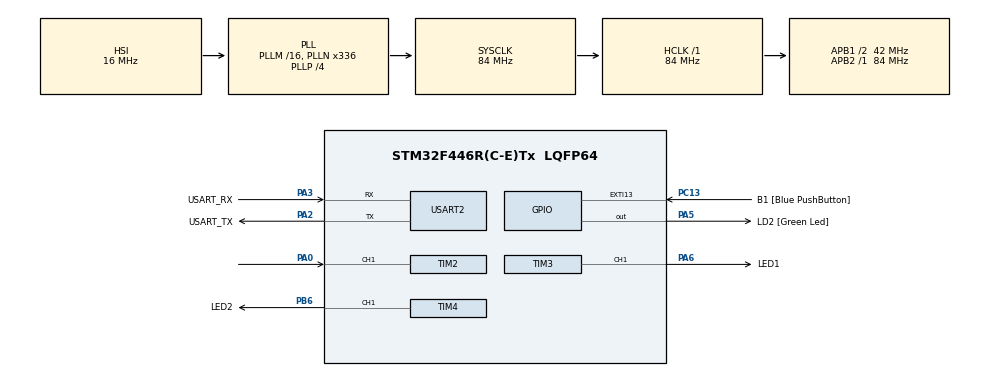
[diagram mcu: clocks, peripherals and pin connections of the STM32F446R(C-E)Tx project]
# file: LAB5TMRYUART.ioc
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Mcu.Family=STM32F4
Mcu.Name=STM32F446R(C-E)Tx
Mcu.Package=LQFP64
NVIC.PriorityGroup=NVIC_PRIORITYGROUP_0
NVIC.TIM2_IRQn=true\:0\:0\:false\:false\:true\:true\:true\:true
PA0-WKUP.Signal=S_TIM2_CH1_ETR
PA13.GPIO_Label=TMS
PA13.Signal=SYS_JTMS-SWDIO
PA14.GPIO_Label=TCK
PA14.Signal=SYS_JTCK-SWCLK
PA2.GPIO_Label=USART_TX
PA2.Mode=Asynchronous
PA2.Signal=USART2_TX
PA3.GPIO_Label=USART_RX
PA3.Mode=Asynchronous
PA3.Signal=USART2_RX
PA5.GPIO_Label=LD2 [Green Led]
PA5.Signal=GPIO_Output
PA6.GPIO_Label=LED1
PA6.Signal=S_TIM3_CH1
PB3.GPIO_Label=SWO
PB3.Signal=SYS_JTDO-SWO
PB6.GPIO_Label=LED2
PB6.Signal=S_TIM4_CH1
PC13.GPIO_Label=B1 [Blue PushButton]
PC13.GPIO_ModeDefaultEXTI=GPIO_MODE_IT_FALLING
PC13.Signal=GPXTI13
PC14-OSC32_IN.Signal=RCC_OSC32_IN
PC15-OSC32_OUT.Signal=RCC_OSC32_OUT
PH0-OSC_IN.Signal=RCC_OSC_IN
PH1-OSC_OUT.Signal=RCC_OSC_OUT
ProjectManager.HeapSize=0x200
ProjectManager.StackSize=0x400
ProjectManager.TargetToolchain=STM32CubeIDE
RCC.AHBFreq_Value=84000000
RCC.APB1CLKDivider=RCC_HCLK_DIV2
RCC.APB1Freq_Value=42000000
RCC.APB1TimFreq_Value=84000000
RCC.APB2Freq_Value=84000000
RCC.APB2TimFreq_Value=84000000
RCC.CortexFreq_Value=84000000
RCC.FLatency-AdvancedSettings=FLASH_LATENCY_2
RCC.HCLKFreq_Value=84000000
RCC.HSE_VALUE=8000000
RCC.HSI_VALUE=16000000
RCC.LSE_VALUE=32768
RCC.PLLN=336
RCC.PLLP=RCC_PLLP_DIV4
RCC.SYSCLKFreq_VALUE=84000000
RCC.SYSCLKSource=RCC_SYSCLKSOURCE_PLLCLK
RCC.USBFreq_Value=168000000
RCC.VCOOutputFreq_Value=336000000
SH.S_TIM2_CH1_ETR.0=TIM2_CH1,Input_Capture1_from_TI1
SH.S_TIM3_CH1.0=TIM3_CH1,PWM Generation1 CH1
SH.S_TIM4_CH1.0=TIM4_CH1,PWM Generation1 CH1
TIM2.Channel-Input_Capture1_from_TI1=TIM_CHANNEL_1
TIM2.Period=65535
TIM2.Prescaler=84
TIM3.Channel-PWM\ Generation1\ CH1=TIM_CHANNEL_1
TIM3.Period=5000
TIM3.Prescaler=8400
TIM3.Pulse-PWM\ Generation1\ CH1=2500
TIM4.Channel-PWM\ Generation1\ CH1=TIM_CHANNEL_1
TIM4.Period=20000
TIM4.Prescaler=8400
TIM4.Pulse-PWM\ Generation1\ CH1=10000
USART2.VirtualMode=VM_ASYNC
VP_TIM2_VS_ClockSourceINT.Mode=Internal
VP_TIM3_VS_ClockSourceINT.Mode=Internal
VP_TIM4_VS_ClockSourceINT.Mode=Internal
board=NUCLEO-F446RE

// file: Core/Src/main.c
/* USER CODE BEGIN Header */
/**
  ******************************************************************************
  * @file           : main.c
  * @brief          : Main program body
  ******************************************************************************
  * @attention
  *
  * Copyright (c) 2026 STMicroelectronics.
  * All rights reserved.
  *
  * This software is licensed under terms that can be found in the LICENSE file
  * in the root directory of this software component.
  * If no LICENSE file comes with this software, it is provided AS-IS.
  *
  ******************************************************************************
  */
/* USER CODE END Header */
#include "main.h"

/* USER CODE BEGIN Includes */
#include <string.h>
#include <stdio.h>

/* USER CODE END Includes */

/* USER CODE BEGIN PTD */
	volatile float frecuenciaHz = 0;
/* USER CODE END PTD */

TIM_HandleTypeDef htim2;
TIM_HandleTypeDef htim3;
TIM_HandleTypeDef htim4;

UART_HandleTypeDef huart2;

void SystemClock_Config(void);
static void MX_GPIO_Init(void);
static void MX_TIM2_Init(void);
static void MX_TIM3_Init(void);
static void MX_TIM4_Init(void);
static void MX_USART2_UART_Init(void);

int main(void)
{

  /* MCU Configuration--------------------------------------------------------*/

  /* Reset of all peripherals, Initializes the Flash interface and the Systick. */
  HAL_Init();

  /* Configure the system clock */
  SystemClock_Config();

  /* Initialize all configured peripherals */
  MX_GPIO_Init();
  MX_TIM2_Init();
  MX_TIM3_Init();
  MX_TIM4_Init();
  MX_USART2_UART_Init();
  /* USER CODE BEGIN 2 */
  /* USER CODE BEGIN 2 */
  HAL_TIM_IC_Start_IT(&htim2, TIM_CHANNEL_1);   // Captura con interrupción en PA0
  HAL_TIM_PWM_Start(&htim3, TIM_CHANNEL_1);     // LED1 en PA6
  HAL_TIM_PWM_Start(&htim4, TIM_CHANNEL_1);     // LED2 en PB6
  /* USER CODE END 2 */

  /* Infinite loop */
  /* USER CODE BEGIN WHILE */
  while (1)
  {
	  if (frecuenciaHz > 1000) {
	      HAL_GPIO_WritePin(LD2_GPIO_Port, LD2_Pin, GPIO_PIN_SET);   // LED encendido
	  } else {
	      HAL_GPIO_WritePin(LD2_GPIO_Port, LD2_Pin, GPIO_PIN_RESET); // LED apagado
	  }

    /* USER CODE END WHILE */

  }
}

void SystemClock_Config(void)
{
  RCC_OscInitTypeDef RCC_OscInitStruct = {0};
  RCC_ClkInitTypeDef RCC_ClkInitStruct = {0};

  /** Configure the main internal regulator output voltage
  */
  __HAL_RCC_PWR_CLK_ENABLE();
  __HAL_PWR_VOLTAGESCALING_CONFIG(PWR_REGULATOR_VOLTAGE_SCALE3);

  /** Initializes the RCC Oscillators according to the specified parameters
  * in the RCC_OscInitTypeDef structure.
  */
  RCC_OscInitStruct.OscillatorType = RCC_OSCILLATORTYPE_HSI;
  RCC_OscInitStruct.HSIState = RCC_HSI_ON;
  RCC_OscInitStruct.HSICalibrationValue = RCC_HSICALIBRATION_DEFAULT;
  RCC_OscInitStruct.PLL.PLLState = RCC_PLL_ON;
  RCC_OscInitStruct.PLL.PLLSource = RCC_PLLSOURCE_HSI;
  RCC_OscInitStruct.PLL.PLLM = 16;
  RCC_OscInitStruct.PLL.PLLN = 336;
  RCC_OscInitStruct.PLL.PLLP = RCC_PLLP_DIV4;
  RCC_OscInitStruct.PLL.PLLQ = 2;
  RCC_OscInitStruct.PLL.PLLR = 2;
  if (HAL_RCC_OscConfig(&RCC_OscInitStruct) != HAL_OK)
  {
    Error_Handler();
  }

  /** Initializes the CPU, AHB and APB buses clocks
  */
  RCC_ClkInitStruct.ClockType = RCC_CLOCKTYPE_HCLK|RCC_CLOCKTYPE_SYSCLK
                              |RCC_CLOCKTYPE_PCLK1|RCC_CLOCKTYPE_PCLK2;
  RCC_ClkInitStruct.SYSCLKSource = RCC_SYSCLKSOURCE_PLLCLK;
  RCC_ClkInitStruct.AHBCLKDivider = RCC_SYSCLK_DIV1;
  RCC_ClkInitStruct.APB1CLKDivider = RCC_HCLK_DIV2;
  RCC_ClkInitStruct.APB2CLKDivider = RCC_HCLK_DIV1;

  if (HAL_RCC_ClockConfig(&RCC_ClkInitStruct, FLASH_LATENCY_2) != HAL_OK)
  {
    Error_Handler();
  }
}

static void MX_TIM2_Init(void)
{

  TIM_ClockConfigTypeDef sClockSourceConfig = {0};
  TIM_MasterConfigTypeDef sMasterConfig = {0};
  TIM_IC_InitTypeDef sConfigIC = {0};

  htim2.Instance = TIM2;
  htim2.Init.Prescaler = 84;
  htim2.Init.CounterMode = TIM_COUNTERMODE_UP;
  htim2.Init.Period = 65535;
  htim2.Init.ClockDivision = TIM_CLOCKDIVISION_DIV1;
  htim2.Init.AutoReloadPreload = TIM_AUTORELOAD_PRELOAD_DISABLE;
  if (HAL_TIM_Base_Init(&htim2) != HAL_OK)
  {
    Error_Handler();
  }
  sClockSourceConfig.ClockSource = TIM_CLOCKSOURCE_INTERNAL;
  if (HAL_TIM_ConfigClockSource(&htim2, &sClockSourceConfig) != HAL_OK)
  {
    Error_Handler();
  }
  if (HAL_TIM_IC_Init(&htim2) != HAL_OK)
  {
    Error_Handler();
  }
  sMasterConfig.MasterOutputTrigger = TIM_TRGO_RESET;
  sMasterConfig.MasterSlaveMode = TIM_MASTERSLAVEMODE_DISABLE;
  if (HAL_TIMEx_MasterConfigSynchronization(&htim2, &sMasterConfig) != HAL_OK)
  {
    Error_Handler();
  }
  sConfigIC.ICPolarity = TIM_INPUTCHANNELPOLARITY_RISING;
  sConfigIC.ICSelection = TIM_ICSELECTION_DIRECTTI;
  sConfigIC.ICPrescaler = TIM_ICPSC_DIV1;
  sConfigIC.ICFilter = 0;
  if (HAL_TIM_IC_ConfigChannel(&htim2, &sConfigIC, TIM_CHANNEL_1) != HAL_OK)
  {
    Error_Handler();
  }

}

static void MX_TIM3_Init(void)
{

  TIM_ClockConfigTypeDef sClockSourceConfig = {0};
  TIM_MasterConfigTypeDef sMasterConfig = {0};
  TIM_OC_InitTypeDef sConfigOC = {0};

  htim3.Instance = TIM3;
  htim3.Init.Prescaler = 8400;
  htim3.Init.CounterMode = TIM_COUNTERMODE_UP;
  htim3.Init.Period = 5000;
  htim3.Init.ClockDivision = TIM_CLOCKDIVISION_DIV1;
  htim3.Init.AutoReloadPreload = TIM_AUTORELOAD_PRELOAD_DISABLE;
  if (HAL_TIM_Base_Init(&htim3) != HAL_OK)
  {
    Error_Handler();
  }
  sClockSourceConfig.ClockSource = TIM_CLOCKSOURCE_INTERNAL;
  if (HAL_TIM_ConfigClockSource(&htim3, &sClockSourceConfig) != HAL_OK)
  {
    Error_Handler();
  }
  if (HAL_TIM_PWM_Init(&htim3) != HAL_OK)
  {
    Error_Handler();
  }
  sMasterConfig.MasterOutputTrigger = TIM_TRGO_RESET;
  sMasterConfig.MasterSlaveMode = TIM_MASTERSLAVEMODE_DISABLE;
  if (HAL_TIMEx_MasterConfigSynchronization(&htim3, &sMasterConfig) != HAL_OK)
  {
    Error_Handler();
  }
  sConfigOC.OCMode = TIM_OCMODE_PWM1;
  sConfigOC.Pulse = 2500;
  sConfigOC.OCPolarity = TIM_OCPOLARITY_HIGH;
  sConfigOC.OCFastMode = TIM_OCFAST_DISABLE;
  if (HAL_TIM_PWM_ConfigChannel(&htim3, &sConfigOC, TIM_CHANNEL_1) != HAL_OK)
  {
    Error_Handler();
  }
  /* USER CODE BEGIN TIM3_Init 2 */
  sConfigOC.Pulse = 2500;   // LED1 → 50% duty sobre 5000
  /* USER CODE END TIM3_Init 2 */
  HAL_TIM_MspPostInit(&htim3);

}

static void MX_TIM4_Init(void)
{

  TIM_ClockConfigTypeDef sClockSourceConfig = {0};
  TIM_MasterConfigTypeDef sMasterConfig = {0};
  TIM_OC_InitTypeDef sConfigOC = {0};

  /* USER CODE BEGIN TIM4_Init 1 */
  sConfigOC.Pulse = 10000;   // LED2 → 50% duty sobre 20000

  /* USER CODE END TIM4_Init 1 */
  htim4.Instance = TIM4;
  htim4.Init.Prescaler = 8400;
  htim4.Init.CounterMode = TIM_COUNTERMODE_UP;
  htim4.Init.Period = 20000;
  htim4.Init.ClockDivision = TIM_CLOCKDIVISION_DIV1;
  htim4.Init.AutoReloadPreload = TIM_AUTORELOAD_PRELOAD_DISABLE;
  if (HAL_TIM_Base_Init(&htim4) != HAL_OK)
  {
    Error_Handler();
  }
  sClockSourceConfig.ClockSource = TIM_CLOCKSOURCE_INTERNAL;
  if (HAL_TIM_ConfigClockSource(&htim4, &sClockSourceConfig) != HAL_OK)
  {
    Error_Handler();
  }
  if (HAL_TIM_PWM_Init(&htim4) != HAL_OK)
  {
    Error_Handler();
  }
  sMasterConfig.MasterOutputTrigger = TIM_TRGO_RESET;
  sMasterConfig.MasterSlaveMode = TIM_MASTERSLAVEMODE_DISABLE;
  if (HAL_TIMEx_MasterConfigSynchronization(&htim4, &sMasterConfig) != HAL_OK)
  {
    Error_Handler();
  }
  sConfigOC.OCMode = TIM_OCMODE_PWM1;
  sConfigOC.Pulse = 10000;
  sConfigOC.OCPolarity = TIM_OCPOLARITY_HIGH;
  sConfigOC.OCFastMode = TIM_OCFAST_DISABLE;
  if (HAL_TIM_PWM_ConfigChannel(&htim4, &sConfigOC, TIM_CHANNEL_1) != HAL_OK)
  {
    Error_Handler();
  }
  HAL_TIM_MspPostInit(&htim4);

}

static void MX_USART2_UART_Init(void)
{

  huart2.Instance = USART2;
  huart2.Init.BaudRate = 115200;
  huart2.Init.WordLength = UART_WORDLENGTH_8B;
  huart2.Init.StopBits = UART_STOPBITS_1;
  huart2.Init.Parity = UART_PARITY_NONE;
  huart2.Init.Mode = UART_MODE_TX_RX;
  huart2.Init.HwFlowCtl = UART_HWCONTROL_NONE;
  huart2.Init.OverSampling = UART_OVERSAMPLING_16;
  if (HAL_UART_Init(&huart2) != HAL_OK)
  {
    Error_Handler();
  }

}

static void MX_GPIO_Init(void)
{
  GPIO_InitTypeDef GPIO_InitStruct = {0};

  /* GPIO Ports Clock Enable */
  __HAL_RCC_GPIOC_CLK_ENABLE();
  __HAL_RCC_GPIOH_CLK_ENABLE();
  __HAL_RCC_GPIOA_CLK_ENABLE();
  __HAL_RCC_GPIOB_CLK_ENABLE();

  /*Configure GPIO pin Output Level */
  HAL_GPIO_WritePin(LD2_GPIO_Port, LD2_Pin, GPIO_PIN_RESET);

  /*Configure GPIO pin : B1_Pin */
  GPIO_InitStruct.Pin = B1_Pin;
  GPIO_InitStruct.Mode = GPIO_MODE_IT_FALLING;
  GPIO_InitStruct.Pull = GPIO_NOPULL;
  HAL_GPIO_Init(B1_GPIO_Port, &GPIO_InitStruct);

  /*Configure GPIO pin : LD2_Pin */
  GPIO_InitStruct.Pin = LD2_Pin;
  GPIO_InitStruct.Mode = GPIO_MODE_OUTPUT_PP;
  GPIO_InitStruct.Pull = GPIO_NOPULL;
  GPIO_InitStruct.Speed = GPIO_SPEED_FREQ_LOW;
  HAL_GPIO_Init(LD2_GPIO_Port, &GPIO_InitStruct);

}

/* USER CODE BEGIN 4 */
void HAL_TIM_IC_CaptureCallback(TIM_HandleTypeDef *htim) {
    static uint32_t lastCapture = 0;
    if(htim->Instance == TIM2 && htim->Channel == HAL_TIM_ACTIVE_CHANNEL_1) {
        uint32_t capture = HAL_TIM_ReadCapturedValue(htim, TIM_CHANNEL_1);
        uint32_t diff = (capture >= lastCapture) ?
                        (capture - lastCapture) :
                        ((htim->Instance->ARR - lastCapture) + capture);
        lastCapture = capture;

        // Ajusta la fórmula según el nuevo prescaler
        frecuenciaHz = 10500000.0f / diff;   // Timer a 10.5 MHz

        uint32_t freqInt = (uint32_t)frecuenciaHz;
        uint32_t freqDec = (uint32_t)((frecuenciaHz - freqInt) * 100);

        char buffer[50];
        sprintf(buffer, "Frecuencia: %lu.%02lu Hz\r\n", freqInt, freqDec);
        HAL_UART_Transmit(&huart2, (uint8_t*)buffer, strlen(buffer), HAL_MAX_DELAY);
    }
}

/* USER CODE END 4 */

void Error_Handler(void)
{
  __disable_irq();
  while (1)
  {
  }
}
